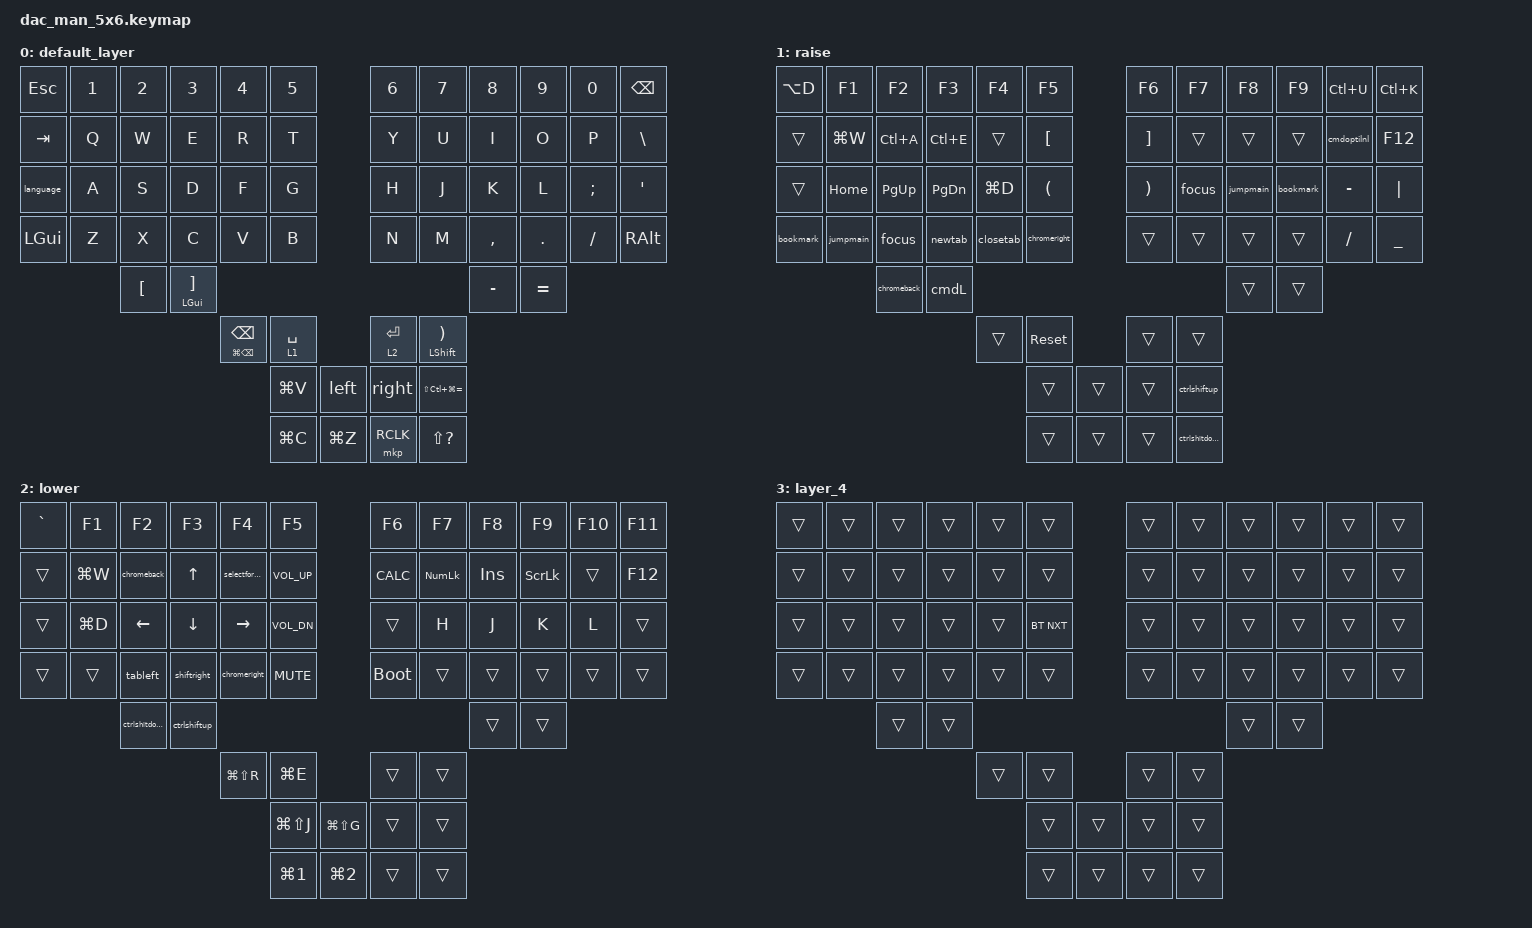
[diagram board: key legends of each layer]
#include <behaviors.dtsi>
#include <dt-bindings/zmk/bt.h>
#include <dt-bindings/zmk/keys.h>
#include <dt-bindings/zmk/mouse.h>

#define DEFAULT 0
#define RAISE   1
#define LOWER   2
#define ADJUST   3

/ {
    conditional_layers {
        compatible = "zmk,conditional-layers";

        tri_layer {
            if-layers = <2 1>;
            then-layer = <3>;
        };
    };

    macros {
        shiftleft: shiftleft {
            compatible = "zmk,behavior-macro";
            #binding-cells = <0>;
            bindings = <&kp LG(LEFT)>;
            label = "SHIFTLEFT";
        };

        shiftright: shiftright {
            compatible = "zmk,behavior-macro";
            #binding-cells = <0>;
            bindings = <&kp LG(RIGHT_ARROW)>;
            label = "SHIFTRIGHT";
        };

        ctrlshitdown: ctrlshitdown {
            compatible = "zmk,behavior-macro";
            #binding-cells = <0>;
            bindings = <&kp LS(LC(PAGE_DOWN))>;
            label = "CTRLSHITDOWN";
        };

        ctrlshiftup: ctrlshiftup {
            compatible = "zmk,behavior-macro";
            #binding-cells = <0>;
            bindings = <&kp LS(LC(PAGE_UP))>;
            label = "CTRLSHIFTUP";
        };

        cmdoptilnl: cmdoptilnl {
            compatible = "zmk,behavior-macro";
            #binding-cells = <0>;
            bindings = <&kp LG(LA(L))>;
            label = "CMDOPTILNL";
        };

        bookmark: bookmark {
            compatible = "zmk,behavior-macro";
            #binding-cells = <0>;
            bindings = <&kp LG(LA(B))>;
            label = "BOOKMARK";
        };

        jumpmain: jumpmain {
            compatible = "zmk,behavior-macro";
            #binding-cells = <0>;
            bindings = <&kp LC(F2)>;
            label = "JUMPMAIN";
        };

        focus: focus {
            compatible = "zmk,behavior-macro";
            #binding-cells = <0>;
            bindings = <&kp LG(F7)>;
            label = "FOCUS";
        };

        newtab: newtab {
            compatible = "zmk,behavior-macro";
            #binding-cells = <0>;
            bindings = <&kp LG(T)>;
            label = "NEWTAB";
        };

        closetab: closetab {
            compatible = "zmk,behavior-macro";
            #binding-cells = <0>;
            bindings = <&kp LG(W)>;
            label = "CLOSETAB";
        };

        left: left {
            compatible = "zmk,behavior-macro";
            #binding-cells = <0>;
            bindings = <&kp LC(LEFT_ARROW)>;
            label = "LEFT";
        };

        right: right {
            compatible = "zmk,behavior-macro";
            #binding-cells = <0>;
            bindings = <&kp LC(RIGHT)>;
            label = "RIGHT";
        };

        tableft: tableft {
            compatible = "zmk,behavior-macro";
            #binding-cells = <0>;
            bindings = <&none &kp LG(LEFT)>;
            label = "TABLEFT";
        };

        chromeright: chromeright {
            compatible = "zmk,behavior-macro";
            #binding-cells = <0>;
            bindings = <&none &kp LG(RIGHT)>;
            label = "CHROMERIGHT";
        };

        selectforward: selectforward {
            compatible = "zmk,behavior-macro";
            #binding-cells = <0>;
            bindings = <&none &kp LC(TAB)>;
            label = "SELECTFORWARD";
        };

        chromeback: chromeback {
            compatible = "zmk,behavior-macro";
            #binding-cells = <0>;
            bindings = <&none &kp LS(LC(TAB))>, <&macro_press>, <&macro_press>;

            label = "CHROMEBACK";
        };

        language: language {
            compatible = "zmk,behavior-macro";
            #binding-cells = <0>;
            bindings = <&none &kp LS(F5)>;
            label = "LANGUAGE";
        };

        cmdL: cmdL {
            compatible = "zmk,behavior-macro";
            #binding-cells = <0>;
            bindings = <&none &kp LG(L)>;
            label = "CMDL";
        };

        new_macro: new_macro {
            compatible = "zmk,behavior-macro";
            #binding-cells = <0>;
            bindings = <&none>;
            label = "NEW_MACRO";
        };
    };

    keymap {
        compatible = "zmk,keymap";

        default_layer {
            bindings = <
&kp ESC       &kp N1  &kp N2    &kp N3         &kp NUMBER_4                 &kp N5                             &kp N6                 &kp N7                            &kp N8     &kp N9     &kp N0         &kp BSPC
&kp TAB       &kp Q   &kp W     &kp E          &kp R                        &kp T                              &kp Y                  &kp U                             &kp I      &kp O      &kp P          &kp BSLH
&language     &kp A   &kp S     &kp D          &kp F                        &kp G                              &kp H                  &kp J                             &kp K      &kp L      &kp SEMICOLON  &kp SQT
&kp LEFT_GUI  &kp Z   &kp X     &kp C          &kp V                        &kp B                              &kp N                  &kp M                             &kp COMMA  &kp DOT    &kp FSLH       &kp RALT
                      &kp LBKT  &mt LGUI RBKT                                                                                                                           &kp MINUS  &kp EQUAL
                                               &mt LG(BACKSPACE) BACKSPACE  &lt 1 SPACE                        &lt 2 ENTER            &mt LEFT_SHIFT RIGHT_PARENTHESIS
                                                                            &kp LG(V)    &left      &right     &kp LS(LC(LG(EQUAL)))
                                                                            &kp LG(C)    &kp LG(Z)  &mkp RCLK  &kp LS(QUESTION)
            >;
        };

        raise {
            bindings = <
&kp LA(D)  &kp F1     &kp F2       &kp F3     &kp F4     &kp F5                        &kp F6         &kp F7  &kp F8     &kp F9     &kp LC(U)    &kp LC(K)
&trans     &kp LG(W)  &kp LC(A)    &kp LC(E)  &trans     &kp LBKT                      &kp RBKT       &trans  &trans     &trans     &cmdoptilnl  &kp F12
&trans     &kp HOME   &kp PG_UP    &kp PG_DN  &kp LG(D)  &kp LPAR                      &kp RPAR       &focus  &jumpmain  &bookmark  &kp MINUS    &kp PIPE
&bookmark  &jumpmain  &focus       &newtab    &closetab  &chromeright                  &trans         &trans  &trans     &trans     &kp FSLH     &kp UNDER
                      &chromeback  &cmdL                                                                      &trans     &trans
                                              &trans     &sys_reset                    &trans         &trans
                                                         &trans        &trans  &trans  &ctrlshiftup
                                                         &trans        &trans  &trans  &ctrlshitdown
            >;
        };

        lower {
            bindings = <
&kp GRAVE  &kp F1     &kp F2         &kp F3        &kp F4          &kp F5                                      &kp F6       &kp F7      &kp F8   &kp F9    &kp F10  &kp F11
&trans     &kp LG(W)  &chromeback    &kp UP_ARROW  &selectforward  &kp C_VOL_UP                                &kp K_CALC   &kp KP_NUM  &kp INS  &kp SLCK  &trans   &kp F12
&trans     &kp LG(D)  &kp LEFT       &kp DOWN      &kp RIGHT       &kp C_VOL_DN                                &trans       &kp H       &kp J    &kp K     &kp L    &trans
&trans     &trans     &tableft       &shiftright   &chromeright    &kp C_MUTE                                  &bootloader  &trans      &trans   &trans    &trans   &trans
                      &ctrlshitdown  &ctrlshiftup                                                                                       &trans   &trans
                                                   &kp LG(LS(R))   &kp LG(E)                                   &trans       &trans
                                                                   &kp LG(LS(J))     &kp LG(LS(G))     &trans  &trans
                                                                   &kp LG(NUMBER_1)  &kp LG(NUMBER_2)  &trans  &trans
            >;
        };

        layer_4 {
            bindings = <
&trans  &trans  &trans  &trans  &trans  &trans                      &trans  &trans  &trans  &trans  &trans  &trans
&trans  &trans  &trans  &trans  &trans  &trans                      &trans  &trans  &trans  &trans  &trans  &trans
&trans  &trans  &trans  &trans  &trans  &bt BT_NXT                  &trans  &trans  &trans  &trans  &trans  &trans
&trans  &trans  &trans  &trans  &trans  &trans                      &trans  &trans  &trans  &trans  &trans  &trans
                &trans  &trans                                                      &trans  &trans
                                &trans  &trans                      &trans  &trans
                                        &trans      &trans  &trans  &trans
                                        &trans      &trans  &trans  &trans
            >;
        };
    };
};
